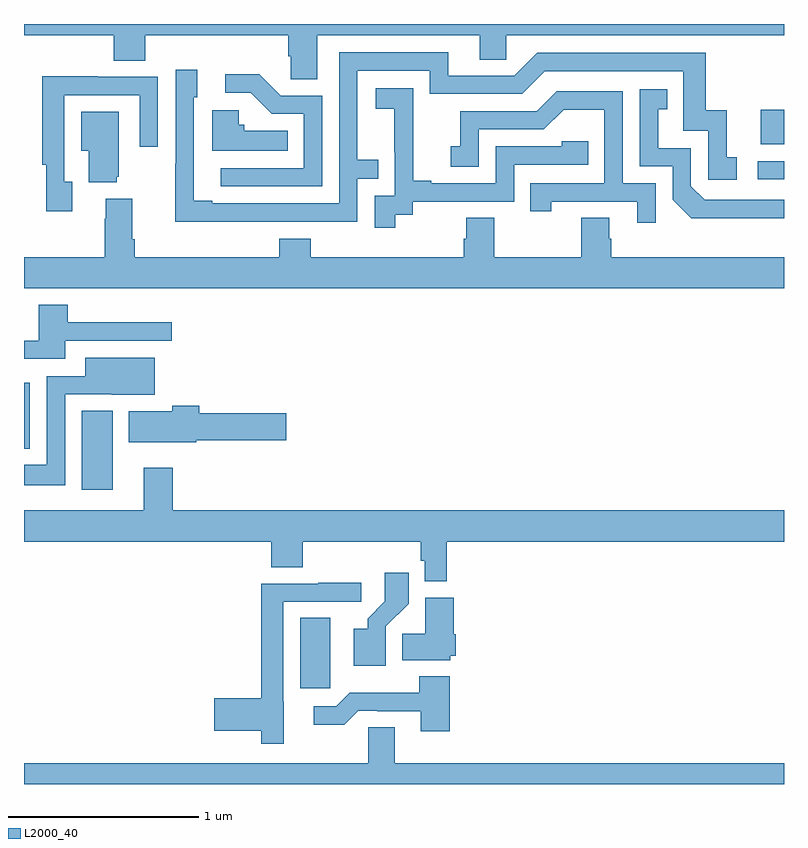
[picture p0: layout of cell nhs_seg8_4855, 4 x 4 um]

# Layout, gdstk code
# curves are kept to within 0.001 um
import gdstk
lib = gdstk.Library(unit=1e-6, precision=1e-09)
def R(c, l, rs):  # rectangles x0, y0, x1, y1
    for r in rs: c.add(gdstk.rectangle(r[:2], r[2:], *l))
def P(c, l, *ps):  # polygons
    for p in ps: c.add(gdstk.Polygon(p, *l))
L2000_40 = (2000, 40)

nhs_seg8_4855 = lib.new_cell('nhs_seg8_4855')
R(nhs_seg8_4855, L2000_40, [(406.454,1106.403,406.612,1106.774), (405.305,1107.45,405.466,1107.865), (405,1107.665,405.031,1108.012), (408.861,1109.082,409,1109.178), (408.878,1109.267,409,1109.449)])
P(nhs_seg8_4855, L2000_40, [(406.543,1109.84),(407.399,1109.84),(407.399,1109.713),(407.538,1109.713),(407.538,1109.84),(409,1109.84),(409,1109.9),(405,1109.9),(405,1109.84),(405.473,1109.84),(405.473,1109.707),(405.638,1109.707),(405.638,1109.84),(406.391,1109.84),(406.391,1109.731),(406.404,1109.731),(406.404,1109.608),(406.543,1109.608)],
  [(406.259,1108.86),(406.755,1108.86),(406.755,1109.085),(406.865,1109.085),(406.865,1109.186),(406.755,1109.186),(406.755,1109.655),(407.136,1109.655),(407.136,1109.532),(407.622,1109.532),(407.742,1109.652),(408.471,1109.652),(408.471,1109.337),(408.6,1109.337),(408.6,1109.079),(408.751,1109.079),(408.751,1109.199),(408.698,1109.199),(408.698,1109.446),(408.587,1109.446),(408.587,1109.748),(407.7,1109.748),(407.58,1109.628),(407.233,1109.628),(407.233,1109.751),(406.659,1109.751),(406.659,1108.956),(405.991,1108.956),(405.991,1108.969),(405.894,1108.969),(405.894,1109.514),(405.913,1109.514),(405.913,1109.659),(405.798,1109.659),(405.798,1109.165),(405.796,1109.165),(405.796,1108.859)],
  [(406.569,1109.523),(406.35,1109.523),(406.237,1109.636),(406.059,1109.636),(406.059,1109.538),(406.193,1109.538),(406.304,1109.427),(406.473,1109.427),(406.473,1109.142),(406.035,1109.142),(406.035,1109.046),(406.569,1109.046)],
  [(405.253,1109.07),(405.213,1109.07),(405.213,1109.526),(405.609,1109.526),(405.609,1109.253),(405.705,1109.253),(405.705,1109.622),(405.389,1109.622),(405.389,1109.624),(405.097,1109.624),(405.097,1109.158),(405.116,1109.158),(405.116,1108.914),(405.253,1108.914)],
  [(406.954,1108.897),(407.046,1108.897),(407.046,1108.965),(407.58,1108.965),(407.58,1109.16),(407.969,1109.16),(407.969,1109.283),(407.829,1109.283),(407.829,1109.256),(407.484,1109.256),(407.484,1109.061),(407.143,1109.061),(407.143,1109.074),(407.048,1109.074),(407.048,1109.357),(407.049,1109.357),(407.049,1109.563),(406.851,1109.563),(406.851,1109.453),(406.949,1109.453),(406.949,1109.225),(406.95,1109.225),(406.95,1108.995),(406.845,1108.995),(406.845,1108.827),(406.954,1108.827)],
  [(408.92,1108.878),(409,1108.878),(409,1108.974),(408.582,1108.974),(408.51,1109.046),(408.51,1109.247),(408.337,1109.247),(408.337,1109.451),(408.386,1109.451),(408.386,1109.557),(408.24,1109.557),(408.24,1109.151),(408.414,1109.151),(408.414,1108.974),(408.512,1108.877)],
  [(408.324,1109.061),(408.15,1109.061),(408.15,1109.547),(407.804,1109.547),(407.699,1109.442),(407.296,1109.442),(407.296,1109.257),(407.247,1109.257),(407.247,1109.148),(407.394,1109.148),(407.394,1109.346),(407.736,1109.346),(407.84,1109.45),(408.054,1109.45),(408.054,1109.061),(407.665,1109.061),(407.665,1108.914),(407.776,1108.914),(407.776,1108.965),(408.227,1108.965),(408.227,1108.854),(408.324,1108.854)],
  [(406.388,1109.338),(406.158,1109.338),(406.158,1109.37),(406.131,1109.37),(406.131,1109.446),(405.992,1109.446),(405.992,1109.234),(406.388,1109.234)],
  [(405.488,1109.097),(405.499,1109.097),(405.499,1109.437),(405.302,1109.437),(405.302,1109.234),(405.341,1109.234),(405.341,1109.066),(405.488,1109.066)],
  [(409,1108.672),(408.092,1108.672),(408.092,1108.77),(408.079,1108.77),(408.079,1108.88),(407.932,1108.88),(407.932,1108.672),(407.475,1108.672),(407.475,1108.88),(407.327,1108.88),(407.327,1108.77),(407.315,1108.77),(407.315,1108.672),(406.508,1108.672),(406.508,1108.771),(406.343,1108.771),(406.343,1108.672),(405.584,1108.672),(405.584,1108.768),(405.571,1108.768),(405.571,1108.981),(405.431,1108.981),(405.431,1108.874),(405.424,1108.874),(405.424,1108.672),(405,1108.672),(405,1108.508),(409,1108.508)],
  [(405.217,1108.233),(405.778,1108.233),(405.778,1108.33),(405.23,1108.33),(405.23,1108.423),(405.077,1108.423),(405.077,1108.233),(405,1108.233),(405,1108.137),(405.217,1108.137)],
  [(405.216,1107.951),(405.462,1107.951),(405.462,1107.95),(405.688,1107.95),(405.688,1108.144),(405.323,1108.144),(405.323,1108.047),(405.12,1108.047),(405.12,1107.58),(405,1107.58),(405,1107.473),(405.216,1107.473)],
  [(405.906,1107.709),(406.381,1107.709),(406.381,1107.851),(405.923,1107.851),(405.923,1107.892),(405.781,1107.892),(405.781,1107.862),(405.551,1107.862),(405.551,1107.698),(405.906,1107.698)],
  [(407.225,1107.176),(409,1107.176),(409,1107.34),(405.782,1107.34),(405.782,1107.565),(405.629,1107.565),(405.629,1107.34),(405,1107.34),(405,1107.176),(406.301,1107.176),(406.301,1107.04),(406.466,1107.04),(406.466,1107.176),(407.089,1107.176),(407.089,1107.075),(407.109,1107.075),(407.109,1106.966),(407.225,1106.966)],
  [(406.905,1106.731),(407.024,1106.85),(407.024,1107.013),(406.899,1107.013),(406.899,1106.861),(406.808,1106.771),(406.808,1106.716),(406.736,1106.716),(406.736,1106.523),(406.905,1106.523)],
  [(406.366,1106.334),(406.365,1106.334),(406.365,1106.859),(406.774,1106.859),(406.774,1106.958),(406.549,1106.958),(406.549,1106.955),(406.249,1106.955),(406.249,1106.351),(406.002,1106.351),(406.002,1106.18),(406.249,1106.18),(406.249,1106.112),(406.366,1106.112)],
  [(407.244,1106.574),(407.273,1106.574),(407.273,1106.688),(407.261,1106.688),(407.261,1106.881),(407.111,1106.881),(407.111,1106.69),(406.99,1106.69),(406.99,1106.552),(407.244,1106.552)],
  [(407.24,1106.467),(407.08,1106.467),(407.08,1106.381),(406.715,1106.381),(406.644,1106.31),(406.524,1106.31),(406.524,1106.213),(406.685,1106.213),(406.758,1106.286),(406.858,1106.286),(406.858,1106.283),(407.087,1106.283),(407.087,1106.178),(407.24,1106.178)],
  [(406.812,1106.198),(406.812,1106.008),(405,1106.008),(405,1105.9),(409,1105.9),(409,1106.008),(406.951,1106.008),(406.951,1106.198)])

lib.write_gds('nhs_seg8_4855.gds')
